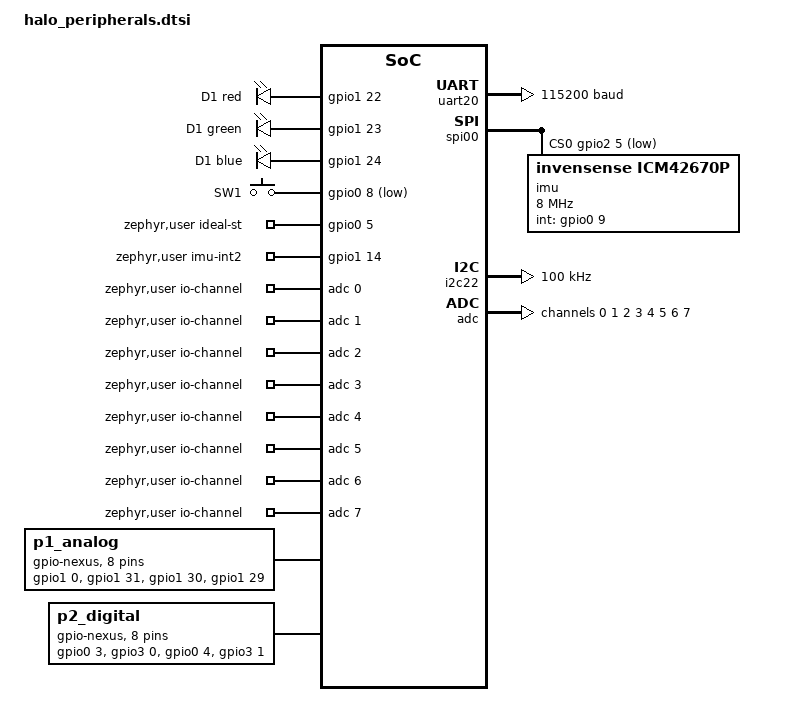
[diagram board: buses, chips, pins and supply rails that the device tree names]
/* SPDX-License-Identifier: Apache-2.0 */

#include <zephyr/dt-bindings/adc/adc.h>
#include <zephyr/dt-bindings/adc/nrf-saadc.h>
#include <zephyr/dt-bindings/gpio/gpio.h>
#include <zephyr/dt-bindings/i2c/i2c.h>
#include <zephyr/dt-bindings/input/input-event-codes.h>
#include "halo-pinctrl.dtsi"

/ {
	aliases {
		led0 = &led_red;
		led1 = &led_green;
		led2 = &led_blue;
		sw0 = &button0;
		mcuboot-button0 = &button0;
		mcuboot-led0 = &led_red;
		accel0 = &imu;
		gyro0 = &imu;
		adc = &adc;
	};

	leds {
		compatible = "gpio-leds";

		led_red: red {
			gpios = <&gpio1 22 GPIO_ACTIVE_HIGH>;
			label = "D1 red";
		};

		led_green: green {
			gpios = <&gpio1 23 GPIO_ACTIVE_HIGH>;
			label = "D1 green";
		};

		led_blue: blue {
			gpios = <&gpio1 24 GPIO_ACTIVE_HIGH>;
			label = "D1 blue";
		};
	};

	buttons {
		compatible = "gpio-keys";

		button0: button-0 {
			gpios = <&gpio0 8 (GPIO_PULL_UP | GPIO_ACTIVE_LOW)>;
			label = "SW1";
			zephyr,code = <INPUT_KEY_0>;
		};
	};

	zephyr,user {
		/* LM66200 ST is high on 3V3_SYS and low on VBAT. */
		ideal-st-gpios = <&gpio0 5 GPIO_ACTIVE_HIGH>;
		/* INT2 is connected to P1.14 only when SB1 is bridged. */
		imu-int2-gpios = <&gpio1 14 GPIO_ACTIVE_HIGH>;
		io-channels = <&adc 0>, <&adc 1>, <&adc 2>, <&adc 3>,
			      <&adc 4>, <&adc 5>, <&adc 6>, <&adc 7>;
	};

	/* P1 and P2 use the physical 2x5 pad numbers. Pins 1/2 are VMCU/GND. */
	p1_analog: analog-header {
		compatible = "gpio-nexus";
		#gpio-cells = <2>;
		gpio-map-mask = <0xffffffff 0>;
		gpio-map-pass-thru = <0 0xffffffff>;
		gpio-map = <3 0 &gpio1 0 0>, <4 0 &gpio1 31 0>,
			   <5 0 &gpio1 30 0>, <6 0 &gpio1 29 0>,
			   <7 0 &gpio1 6 0>, <8 0 &gpio1 5 0>,
			   <9 0 &gpio1 4 0>, <10 0 &gpio1 3 0>;
	};

	p2_digital: digital-header {
		compatible = "gpio-nexus";
		#gpio-cells = <2>;
		gpio-map-mask = <0xffffffff 0>;
		gpio-map-pass-thru = <0 0xffffffff>;
		gpio-map = <3 0 &gpio0 3 0>, <4 0 &gpio3 0 0>,
			   <5 0 &gpio0 4 0>, <6 0 &gpio3 1 0>,
			   <7 0 &gpio0 6 0>, <8 0 &gpio3 4 0>,
			   <9 0 &gpio0 7 0>, <10 0 &gpio3 5 0>;
	};
};

&uart20 {
	status = "okay";
	current-speed = <115200>;
	pinctrl-0 = <&halo_uart20_default>;
	pinctrl-1 = <&halo_uart20_sleep>;
	pinctrl-names = "default", "sleep";
};

&spi00 {
	status = "okay";
	pinctrl-0 = <&halo_spi00_default>;
	pinctrl-1 = <&halo_spi00_sleep>;
	pinctrl-names = "default", "sleep";
	cs-gpios = <&gpio2 5 GPIO_ACTIVE_LOW>;

	imu: imu@0 {
		compatible = "invensense,icm42670p";
		reg = <0>;
		spi-max-frequency = <8000000>;
		int-gpios = <&gpio0 9 GPIO_ACTIVE_HIGH>;
		accel-hz = <800>;
		accel-fs = <16>;
		gyro-hz = <800>;
		gyro-fs = <2000>;
	};
};

modulo_i2c: &i2c22 {
	status = "okay";
	pinctrl-0 = <&halo_i2c22_default>;
	pinctrl-1 = <&halo_i2c22_sleep>;
	pinctrl-names = "default", "sleep";
	clock-frequency = <I2C_BITRATE_STANDARD>;

	/* NCS v3.4.2 has no MS5637 sensor driver. */
	ms5637: pressure@76 {
		compatible = "meas,ms5637";
		reg = <0x76>;
		status = "disabled";
	};
};

&adc {
	status = "okay";
	#address-cells = <1>;
	#size-cells = <0>;

	channel@0 {
		reg = <0>;
		zephyr,gain = "ADC_GAIN_1_4";
		zephyr,reference = "ADC_REF_INTERNAL";
		zephyr,acquisition-time = <ADC_ACQ_TIME_DEFAULT>;
		zephyr,input-positive = <NRF_SAADC_AIN0>;
		zephyr,resolution = <12>;
	};

	channel@1 {
		reg = <1>;
		zephyr,gain = "ADC_GAIN_1_4";
		zephyr,reference = "ADC_REF_INTERNAL";
		zephyr,acquisition-time = <ADC_ACQ_TIME_DEFAULT>;
		zephyr,input-positive = <NRF_SAADC_AIN1>;
		zephyr,resolution = <12>;
	};

	channel@2 {
		reg = <2>;
		zephyr,gain = "ADC_GAIN_1_4";
		zephyr,reference = "ADC_REF_INTERNAL";
		zephyr,acquisition-time = <ADC_ACQ_TIME_DEFAULT>;
		zephyr,input-positive = <NRF_SAADC_AIN2>;
		zephyr,resolution = <12>;
	};

	channel@3 {
		reg = <3>;
		zephyr,gain = "ADC_GAIN_1_4";
		zephyr,reference = "ADC_REF_INTERNAL";
		zephyr,acquisition-time = <ADC_ACQ_TIME_DEFAULT>;
		zephyr,input-positive = <NRF_SAADC_AIN3>;
		zephyr,resolution = <12>;
	};

	channel@4 {
		reg = <4>;
		zephyr,gain = "ADC_GAIN_1_4";
		zephyr,reference = "ADC_REF_INTERNAL";
		zephyr,acquisition-time = <ADC_ACQ_TIME_DEFAULT>;
		zephyr,input-positive = <NRF_SAADC_AIN4>;
		zephyr,resolution = <12>;
	};

	channel@5 {
		reg = <5>;
		zephyr,gain = "ADC_GAIN_1_4";
		zephyr,reference = "ADC_REF_INTERNAL";
		zephyr,acquisition-time = <ADC_ACQ_TIME_DEFAULT>;
		zephyr,input-positive = <NRF_SAADC_AIN5>;
		zephyr,resolution = <12>;
	};

	channel@6 {
		reg = <6>;
		zephyr,gain = "ADC_GAIN_1_4";
		zephyr,reference = "ADC_REF_INTERNAL";
		zephyr,acquisition-time = <ADC_ACQ_TIME_DEFAULT>;
		zephyr,input-positive = <NRF_SAADC_AIN6>;
		zephyr,resolution = <12>;
	};

	channel@7 {
		reg = <7>;
		zephyr,gain = "ADC_GAIN_1_4";
		zephyr,reference = "ADC_REF_INTERNAL";
		zephyr,acquisition-time = <ADC_ACQ_TIME_DEFAULT>;
		zephyr,input-positive = <NRF_SAADC_AIN7>;
		zephyr,resolution = <12>;
	};
};
